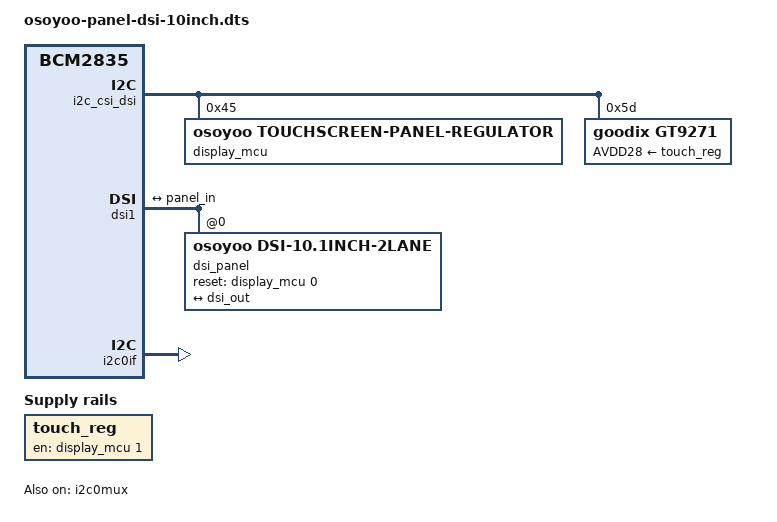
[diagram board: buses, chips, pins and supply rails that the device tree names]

/dts-v1/;
/plugin/;

/ {
	compatible = "brcm,bcm2835";

	i2c_frag: fragment@0 {
		target = <&i2c_csi_dsi>;
		__overlay__ {
			#address-cells = <1>;
			#size-cells = <0>;
			status = "okay";

			display_mcu: display_mcu@45
			{
				compatible = "osoyoo,touchscreen-panel-regulator";
				reg = <0x45>;
				gpio-controller;
				#gpio-cells = <2>;
			};

			gt9271: gt9271@5d {
				compatible = "goodix,gt9271";
				reg = <0x5d>;
				AVDD28-supply = <&touch_reg>;
				touchscreen-size-x = <800>;
				touchscreen-size-y = <1280>;
				touchscreen-x-mm = <135>;
				touchscreen-y-mm = <216>;
			};
		};
	};

	dsi_frag: fragment@1 {
		target = <&dsi1>;
		__overlay__  {
			#address-cells = <1>;
			#size-cells = <0>;
			status = "okay";

			port {
				dsi_out: endpoint {
					remote-endpoint = <&panel_in>;
				};
			};

			dsi_panel: dsi_panel@0 {
				reg = <0>;
				compatible = "osoyoo,dsi-10.1inch-2lane";
				reset-gpio = <&display_mcu 0 0>;

				port {
					panel_in: endpoint {
						remote-endpoint = <&dsi_out>;
					};
				};
			};
		};
	};

	fragment@2 {
		target = <&i2c0if>;
		__overlay__ {
			status = "okay";
		};
	};

	fragment@3 {
		target = <&i2c0mux>;
		__overlay__ {
			status = "okay";
		};
	};

	fragment@4 {
		target-path = "/";
		__overlay__ {
			touch_reg: touch_reg@1 {
				reg = <1>;
				compatible = "regulator-fixed";
				regulator-name = "touch_reg_1";
				gpio = <&display_mcu 1 1>;
				startup-delay-us = <50000>;
				enable-active-high;
			};
		};
	};

	fragment@10 {
		target = <&gt9271>;
		__dormant__ {
			touchscreen-inverted-x;
		};
	};

	fragment@11 {
		target = <&gt9271>;
		__dormant__ {
			touchscreen-inverted-y;
		};
	};

	__overrides__ {
		4lane = <&dsi_panel>, "compatible=osoyoo,dsi-10.1inch-4lane";
		dsi0 = <&dsi_frag>, "target:0=",<&dsi0>,
		       <&i2c_frag>, "target:0=",<&i2c_csi_dsi0>,
		       <&touch_reg>, "reg:0=0",
		       <&touch_reg>, "regulator-name=touch_reg_0";
		sizex = <&gt9271>,"touchscreen-size-x:0";
		sizey = <&gt9271>,"touchscreen-size-y:0";
		invx = <0>, "+10";
		invy = <0>, "+11";
		swapxy = <&gt9271>,"touchscreen-swapped-x-y?";
		disable_touch = <&gt9271>, "status=disabled";
		rotation = <&dsi_panel>, "rotation:0";
	};
};
